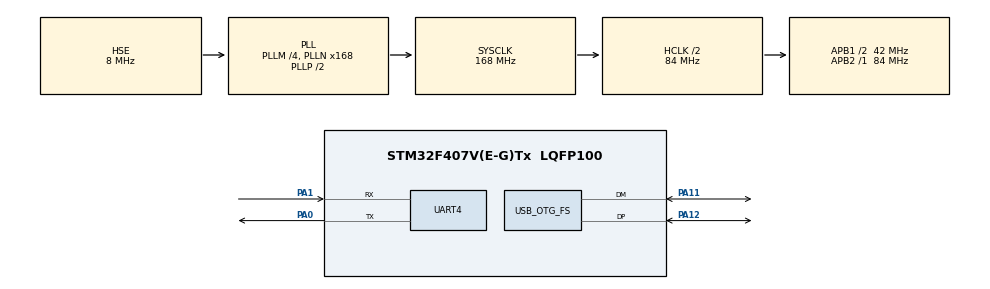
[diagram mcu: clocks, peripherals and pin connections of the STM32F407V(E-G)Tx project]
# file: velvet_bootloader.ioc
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Mcu.Family=STM32F4
Mcu.Name=STM32F407V(E-G)Tx
Mcu.Package=LQFP100
NVIC.OTG_FS_IRQn=true\:0\:0\:false\:false\:true\:false\:true\:true
NVIC.PriorityGroup=NVIC_PRIORITYGROUP_4
PA0-WKUP.Mode=Asynchronous
PA0-WKUP.Signal=UART4_TX
PA1.Mode=Asynchronous
PA1.Signal=UART4_RX
PA11.Mode=Device_Only
PA11.Signal=USB_OTG_FS_DM
PA12.Mode=Device_Only
PA12.Signal=USB_OTG_FS_DP
PH0-OSC_IN.Mode=HSE-External-Oscillator
PH0-OSC_IN.Signal=RCC_OSC_IN
PH1-OSC_OUT.Mode=HSE-External-Oscillator
PH1-OSC_OUT.Signal=RCC_OSC_OUT
ProjectManager.HeapSize=0x200
ProjectManager.StackSize=0x400
ProjectManager.TargetToolchain=Makefile
RCC.48MHZClocksFreq_Value=48000000
RCC.AHBCLKDivider=RCC_SYSCLK_DIV2
RCC.AHBFreq_Value=84000000
RCC.APB1CLKDivider=RCC_HCLK_DIV2
RCC.APB1Freq_Value=42000000
RCC.APB1TimFreq_Value=84000000
RCC.APB2Freq_Value=84000000
RCC.APB2TimFreq_Value=84000000
RCC.CortexFreq_Value=84000000
RCC.HCLKFreq_Value=84000000
RCC.HSE_VALUE=8000000
RCC.HSI_VALUE=16000000
RCC.LSE_VALUE=32768
RCC.PLLM=4
RCC.PLLN=168
RCC.PLLQ=7
RCC.SYSCLKFreq_VALUE=168000000
RCC.SYSCLKSource=RCC_SYSCLKSOURCE_PLLCLK
RCC.VCOOutputFreq_Value=336000000
UART4.VirtualMode=Asynchronous
USB_DEVICE.CLASS_NAME_FS=CDC
USB_DEVICE.VirtualMode-CDC_FS=Cdc
USB_DEVICE.VirtualModeFS=Cdc_FS
USB_OTG_FS.VirtualMode=Device_Only
VP_IWDG_VS_IWDG.Mode=IWDG_Activate
VP_USB_DEVICE_VS_USB_DEVICE_CDC_FS.Mode=CDC_FS
board=custom

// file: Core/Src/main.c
/* USER CODE BEGIN Header */
/**
  ******************************************************************************
  * @file           : main.c
  * @brief          : Main program body
  ******************************************************************************
  * @attention
  *
  * Copyright (c) 2022 STMicroelectronics.
  * All rights reserved.
  *
  * This software is licensed under terms that can be found in the LICENSE file
  * in the root directory of this software component.
  * If no LICENSE file comes with this software, it is provided AS-IS.
  *
  ******************************************************************************
  */
/* USER CODE END Header */
#include "main.h"
// #include "usb_device.h"

/* USER CODE BEGIN Includes */
#include "const.h"
// #include "usb.h"
#include "wifi.h"
/* USER CODE END Includes */

IWDG_HandleTypeDef hiwdg;

UART_HandleTypeDef huart4;

void SystemClock_Config(void);
static void MX_GPIO_Init(void);
static void MX_UART4_Init(void);
// static void MX_IWDG_Init(void);

int main(void)
{
  /* USER CODE BEGIN 1 */
  uint8_t out[50];
  /* USER CODE END 1 */

  /* MCU Configuration--------------------------------------------------------*/

  /* Reset of all peripherals, Initializes the Flash interface and the Systick. */
  HAL_Init();

  /* Configure the system clock */
  SystemClock_Config();

  /* Initialize all configured peripherals */
  MX_GPIO_Init();
  MX_UART4_Init();
  // MX_USB_DEVICE_Init();
  // MX_IWDG_Init();
  /* USER CODE BEGIN 2 */
  HAL_Delay(5000);
  // USBPrint("START\n");

  bool temp = isUpdate(&huart4);
  // sprintf(out, "IS UPDATE: %d\n", temp);
  // USBPrint(out);

  if (temp){
    bool updateBool = UpdateFW(&huart4);
    // sprintf(out, "IS UPDATE: %d\n", updateBool);
    // USBPrint(out);
  }

  // USBPrint("GO TO APP\n");
  GoToApplication();

  // USBPrint("END\n");
  /* USER CODE END 2 */

  /* Infinite loop */
  /* USER CODE BEGIN WHILE */
  while (1)
  {

    // USBprintArray(uartReadBuf, 4);

    /* USER CODE END WHILE */

  }
}

void SystemClock_Config(void)
{
  RCC_OscInitTypeDef RCC_OscInitStruct = {0};
  RCC_ClkInitTypeDef RCC_ClkInitStruct = {0};

  /** Configure the main internal regulator output voltage
  */
  __HAL_RCC_PWR_CLK_ENABLE();
  __HAL_PWR_VOLTAGESCALING_CONFIG(PWR_REGULATOR_VOLTAGE_SCALE1);

  /** Initializes the RCC Oscillators according to the specified parameters
  * in the RCC_OscInitTypeDef structure.
  */
  RCC_OscInitStruct.OscillatorType = RCC_OSCILLATORTYPE_LSI|RCC_OSCILLATORTYPE_HSE;
  RCC_OscInitStruct.HSEState = RCC_HSE_ON;
  RCC_OscInitStruct.LSIState = RCC_LSI_ON;
  RCC_OscInitStruct.PLL.PLLState = RCC_PLL_ON;
  RCC_OscInitStruct.PLL.PLLSource = RCC_PLLSOURCE_HSE;
  RCC_OscInitStruct.PLL.PLLM = 4;
  RCC_OscInitStruct.PLL.PLLN = 168;
  RCC_OscInitStruct.PLL.PLLP = RCC_PLLP_DIV2;
  RCC_OscInitStruct.PLL.PLLQ = 7;
  if (HAL_RCC_OscConfig(&RCC_OscInitStruct) != HAL_OK)
  {
    Error_Handler();
  }

  /** Initializes the CPU, AHB and APB buses clocks
  */
  RCC_ClkInitStruct.ClockType = RCC_CLOCKTYPE_HCLK|RCC_CLOCKTYPE_SYSCLK
                              |RCC_CLOCKTYPE_PCLK1|RCC_CLOCKTYPE_PCLK2;
  RCC_ClkInitStruct.SYSCLKSource = RCC_SYSCLKSOURCE_PLLCLK;
  RCC_ClkInitStruct.AHBCLKDivider = RCC_SYSCLK_DIV2;
  RCC_ClkInitStruct.APB1CLKDivider = RCC_HCLK_DIV2;
  RCC_ClkInitStruct.APB2CLKDivider = RCC_HCLK_DIV1;

  if (HAL_RCC_ClockConfig(&RCC_ClkInitStruct, FLASH_LATENCY_2) != HAL_OK)
  {
    Error_Handler();
  }
}

// static void MX_IWDG_Init(void)
// {

//   /* USER CODE BEGIN IWDG_Init 0 */

//   /* USER CODE END IWDG_Init 0 */

//   /* USER CODE BEGIN IWDG_Init 1 */

//   /* USER CODE END IWDG_Init 1 */
//   hiwdg.Instance = IWDG;
//   hiwdg.Init.Prescaler = IWDG_PRESCALER_4;
//   hiwdg.Init.Reload = 4095;
//   if (HAL_IWDG_Init(&hiwdg) != HAL_OK)
//   {
//     Error_Handler();
//   }
//   /* USER CODE BEGIN IWDG_Init 2 */

//   /* USER CODE END IWDG_Init 2 */

// }

static void MX_UART4_Init(void)
{

  huart4.Instance = UART4;
  huart4.Init.BaudRate = 115200;
  huart4.Init.WordLength = UART_WORDLENGTH_8B;
  huart4.Init.StopBits = UART_STOPBITS_1;
  huart4.Init.Parity = UART_PARITY_NONE;
  huart4.Init.Mode = UART_MODE_TX_RX;
  huart4.Init.HwFlowCtl = UART_HWCONTROL_NONE;
  huart4.Init.OverSampling = UART_OVERSAMPLING_16;
  if (HAL_UART_Init(&huart4) != HAL_OK)
  {
    Error_Handler();
  }

}

static void MX_GPIO_Init(void)
{

  /* GPIO Ports Clock Enable */
  __HAL_RCC_GPIOH_CLK_ENABLE();
  __HAL_RCC_GPIOA_CLK_ENABLE();

}

/* USER CODE BEGIN 4 */

void GoToApplication() {
	// UART_Printf("Go to the Application...\r\n");
// 	typedef void (*pFunction)(void);

// 	// MX_IWDG_Init();

// 	uint32_t jumpAddress = *(__IO uint32_t*) (APP_START_ADDR + 4);
// 	pFunction JumpToApplication = (pFunction) jumpAddress;

// 	// stop all interrupts
// 	__disable_irq();

// 	SysTick->CTRL = 0;
// 	SysTick->LOAD = 0;
// 	SysTick->VAL = 0;

// //	while(1);
// 	SCB->VTOR = APP_START_ADDR;

// 	__set_MSP(*(__IO uint32_t*) APP_START_ADDR);
// 	JumpToApplication();

  uint32_t appJumpAdress;
	appJumpAdress = *((volatile uint32_t*) (APP_START_ADDR + 4));

	HAL_RCC_DeInit();
	HAL_DeInit();

	void(*GoToApp)(void);
	GoToApp = (void (*) (void))appJumpAdress;

	__disable_irq();
	__set_MSP(*((volatile uint32_t*)APP_START_ADDR));
	GoToApp();
}

// void Reboot() {
// 	UART_Printf("Go to bootloader...\r\n");
// 	hiwdg.Instance = IWDG;
// 	hiwdg.Init.Prescaler = IWDG_PRESCALER_4;
// 	hiwdg.Init.Reload = 1;
// 	if (HAL_IWDG_Init(&hiwdg) != HAL_OK) {
// 		Error_Handler();
// 	}
// }

/* USER CODE END 4 */

void Error_Handler(void)
{
  __disable_irq();
  while (1)
  {
  }
}
